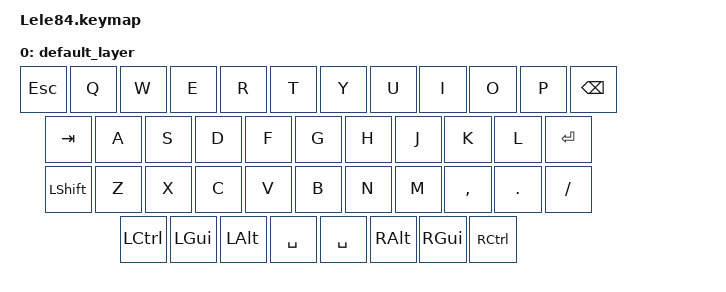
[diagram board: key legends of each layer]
#include <behaviors.dtsi>
#include <dt-bindings/zmk/keys.h>
#include <dt-bindings/zmk/bt.h>
#include <dt-bindings/zmk/outputs.h>
#include <dt-bindings/zmk/rgb.h>

/ {
    keymap {
        compatible = "zmk,keymap";

        default_layer {

            bindings = <

&kp ESC  &kp Q  &kp W  &kp E  &kp R  &kp T  &kp Y  &kp U  &kp   I   &kp  O  &kp   P  &kp BSPC
&kp TAB  &kp A  &kp S  &kp D  &kp F  &kp G  &kp H  &kp J  &kp   K   &kp  L  &kp ENTER
&kp LSHFT  &kp Z  &kp X  &kp C  &kp V  &kp B  &kp N  &kp M  &kp COMMA &kp DOT &kp FSLH
&kp LCTRL &kp LGUI &kp LALT  &kp SPACE           &kp SPACE    &kp RALT   &kp  RGUI  &kp  RCTRL
			>;
        };
    };
};
